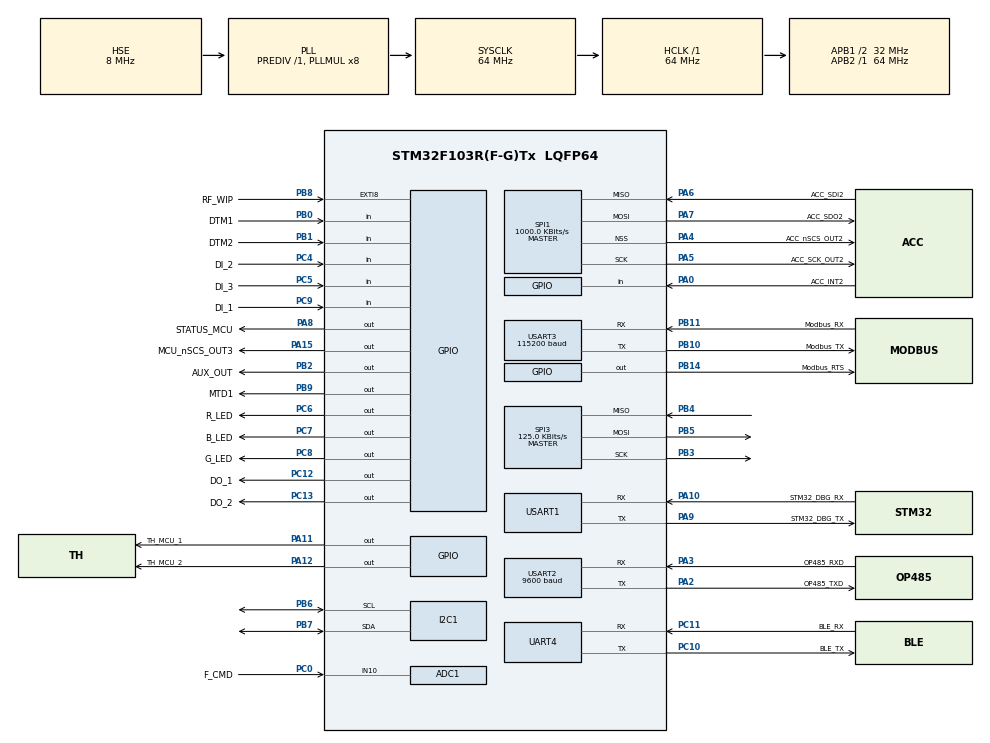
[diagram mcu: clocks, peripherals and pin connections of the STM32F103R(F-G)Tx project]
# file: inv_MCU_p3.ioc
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ADC1.Channel-0\#ChannelRegularConversion=ADC_CHANNEL_10
ADC1.ContinuousConvMode=ENABLE
ADC1.InjNumberOfConversion=0
ADC1.NbrOfConversion=1
ADC1.NbrOfConversionFlag=1
ADC1.Rank-0\#ChannelRegularConversion=1
ADC1.SamplingTime-0\#ChannelRegularConversion=ADC_SAMPLETIME_1CYCLE_5
ADC1.master=1
Dma.ADC1.1.Direction=DMA_PERIPH_TO_MEMORY
Dma.ADC1.1.Instance=DMA1_Channel1
Dma.ADC1.1.MemDataAlignment=DMA_MDATAALIGN_HALFWORD
Dma.ADC1.1.MemInc=DMA_MINC_ENABLE
Dma.ADC1.1.Mode=DMA_NORMAL
Dma.ADC1.1.PeriphDataAlignment=DMA_PDATAALIGN_HALFWORD
Dma.ADC1.1.PeriphInc=DMA_PINC_DISABLE
Dma.ADC1.1.Priority=DMA_PRIORITY_LOW
Dma.Request0=USART1_TX
Dma.Request1=ADC1
Dma.USART1_TX.0.Direction=DMA_MEMORY_TO_PERIPH
Dma.USART1_TX.0.Instance=DMA1_Channel4
Dma.USART1_TX.0.MemDataAlignment=DMA_MDATAALIGN_BYTE
Dma.USART1_TX.0.MemInc=DMA_MINC_ENABLE
Dma.USART1_TX.0.Mode=DMA_NORMAL
Dma.USART1_TX.0.PeriphDataAlignment=DMA_PDATAALIGN_BYTE
Dma.USART1_TX.0.PeriphInc=DMA_PINC_DISABLE
Dma.USART1_TX.0.Priority=DMA_PRIORITY_LOW
FREERTOS.BinarySemaphores01=debugSemaphoreId,Dynamic,NULL;mbus485SemaphoreId,Dynamic,NULL;rs485SemaphoreId,Dynamic,NULL;I2CSemaphoreId,Dynamic,NULL
FREERTOS.INCLUDE_vTaskDelete=0
FREERTOS.Queues01=NFC_eventQ,128,uint8_t,0,Dynamic,NULL,NULL
FREERTOS.Tasks01=defaultTask,-1,128,StartDefaultTask,Default,NULL,Dynamic,NULL,NULL;NfcNvmTask,0,256,NfcNvmTaskFunc,Default,NULL,Dynamic,NULL,NULL;userIoTask,-1,128,userIoTaskFunc,Default,NULL,Dynamic,NULL,NULL;mainHandlerTask,0,512,mainHandlerTaskFunc,Default,NULL,Dynamic,NULL,NULL;mbus485Task,0,256,mbus485TaskFunc,Default,NULL,Dynamic,NULL,NULL;opt485Task,-1,256,opt485TaskFunc,Default,NULL,Dynamic,NULL,NULL
FREERTOS.Timers01=YstcTriggerTimer,YstcTriggerTimerCallback,osTimerPeriodic,Default,NULL,Dynamic,NULL;YstcUpdateTimer,YstcUpdateTimerCallback,osTimerPeriodic,Default,NULL,Dynamic,NULL;userIoTimer,userIoTimerCallback,osTimerPeriodic,Default,NULL,Dynamic,NULL;NfcAppTimer,NfcAppTimerCallback,osTimerOnce,Default,NULL,Dynamic,NULL;AccReadTimer,AccReadTimerCallback,osTimerPeriodic,Default,NULL,Dynamic,NULL;OperationTimer,OperationTimerCallback,osTimerPeriodic,Default,NULL,Dynamic,NULL
FREERTOS.configTOTAL_HEAP_SIZE=20480
FREERTOS.configUSE_TIMERS=1
I2C1.I2C_Mode=I2C_Fast
IWDG.Prescaler=IWDG_PRESCALER_64
IWDG.Reload=1250
Mcu.Family=STM32F1
Mcu.Name=STM32F103R(F-G)Tx
Mcu.Package=LQFP64
NVIC.DMA1_Channel1_IRQn=true\:5\:0\:false\:false\:true\:true\:false\:true
NVIC.DMA1_Channel4_IRQn=true\:5\:0\:false\:false\:true\:true\:false\:true
NVIC.EXTI9_5_IRQn=true\:5\:0\:false\:false\:true\:true\:true\:true
NVIC.PriorityGroup=NVIC_PRIORITYGROUP_4
NVIC.RTC_IRQn=true\:5\:0\:false\:false\:true\:true\:true\:true
NVIC.TIM1_UP_TIM10_IRQn=true\:5\:0\:false\:false\:true\:true\:true\:true
NVIC.TIM3_IRQn=true\:5\:0\:false\:false\:true\:true\:true\:true
NVIC.TIM6_IRQn=true\:0\:0\:false\:false\:true\:false\:true\:true
NVIC.TIM7_IRQn=true\:5\:0\:false\:false\:true\:true\:true\:true
NVIC.TimeBase=TIM6_IRQn
NVIC.TimeBaseIP=TIM6
NVIC.USART1_IRQn=true\:5\:0\:false\:false\:true\:true\:true\:true
NVIC.USART2_IRQn=true\:5\:0\:false\:false\:true\:true\:true\:true
NVIC.USART3_IRQn=true\:5\:0\:false\:false\:true\:true\:true\:true
PA0-WKUP.GPIO_Label=ACC_INT2
PA0-WKUP.Signal=GPIO_Input
PA1.GPIO_Label=OP485_RTS
PA1.Signal=USART2_RTS
PA10.GPIO_Label=STM32_DBG_RX
PA10.Mode=Asynchronous
PA10.Signal=USART1_RX
PA11.GPIO_Label=TH_MCU_1
PA11.Signal=GPIO_Output
PA12.GPIO_Label=TH_MCU_2
PA12.Signal=GPIO_Output
PA13.Mode=Serial_Wire
PA13.Signal=SYS_JTMS-SWDIO
PA14.Mode=Serial_Wire
PA14.Signal=SYS_JTCK-SWCLK
PA15.GPIO_Label=MCU_nSCS_OUT3
PA15.Signal=GPIO_Output
PA2.GPIO_Label=OP485_TXD
PA2.Mode=Asynchronous
PA2.Signal=USART2_TX
PA3.GPIO_Label=OP485_RXD
PA3.Mode=Asynchronous
PA3.Signal=USART2_RX
PA4.GPIO_Label=ACC_nSCS_OUT2
PA4.Mode=NSS_Signal_Hard_Output
PA4.Signal=SPI1_NSS
PA5.GPIO_Label=ACC_SCK_OUT2
PA5.Mode=Full_Duplex_Master
PA5.Signal=SPI1_SCK
PA6.GPIO_Label=ACC_SDI2
PA6.Mode=Full_Duplex_Master
PA6.Signal=SPI1_MISO
PA7.GPIO_Label=ACC_SDO2
PA7.Mode=Full_Duplex_Master
PA7.Signal=SPI1_MOSI
PA8.GPIO_Label=STATUS_MCU
PA8.Signal=GPIO_Output
PA9.GPIO_Label=STM32_DBG_TX
PA9.Mode=Asynchronous
PA9.Signal=USART1_TX
PB0.GPIO_Label=DTM1
PB0.Signal=GPIO_Input
PB1.GPIO_Label=DTM2
PB1.Signal=GPIO_Input
PB10.GPIO_Label=Modbus_TX
PB10.Mode=Asynchronous
PB10.Signal=USART3_TX
PB11.GPIO_Label=Modbus_RX
PB11.Mode=Asynchronous
PB11.Signal=USART3_RX
PB14.GPIO_Label=Modbus_RTS
PB14.GPIO_Speed=GPIO_SPEED_FREQ_MEDIUM
PB14.Signal=GPIO_Output
PB2.GPIO_Label=AUX_OUT
PB2.GPIO_PuPd=GPIO_PULLDOWN
PB2.Signal=GPIO_Output
PB3.Mode=Full_Duplex_Master
PB3.Signal=SPI3_SCK
PB4.Mode=Full_Duplex_Master
PB4.Signal=SPI3_MISO
PB5.Mode=Full_Duplex_Master
PB5.Signal=SPI3_MOSI
PB6.Mode=I2C
PB6.Signal=I2C1_SCL
PB7.Mode=I2C
PB7.Signal=I2C1_SDA
PB8.GPIO_Label=RF_WIP
PB8.Signal=GPXTI8
PB9.GPIO_Label=MTD1
PB9.Signal=GPIO_Output
PC0.GPIO_Label=F_CMD
PC0.Signal=ADCx_IN10
PC10.GPIO_Label=BLE_TX
PC10.Mode=Asynchronous
PC10.Signal=UART4_TX
PC11.GPIO_Label=BLE_RX
PC11.Mode=Asynchronous
PC11.Signal=UART4_RX
PC12.GPIO_Label=DO_1
PC12.PinState=GPIO_PIN_SET
PC12.Signal=GPIO_Output
PC13-TAMPER-RTC.GPIO_Label=DO_2
PC13-TAMPER-RTC.PinState=GPIO_PIN_SET
PC13-TAMPER-RTC.Signal=GPIO_Output
PC14-OSC32_IN.Mode=LSE-External-Oscillator
PC14-OSC32_IN.Signal=RCC_OSC32_IN
PC15-OSC32_OUT.Mode=LSE-External-Oscillator
PC15-OSC32_OUT.Signal=RCC_OSC32_OUT
PC4.GPIO_Label=DI_2
PC4.Signal=GPIO_Input
PC5.GPIO_Label=DI_3
PC5.Signal=GPIO_Input
PC6.GPIO_Label=R_LED
PC6.Signal=GPIO_Output
PC7.GPIO_Label=B_LED
PC7.Signal=GPIO_Output
PC8.GPIO_Label=G_LED
PC8.Signal=GPIO_Output
PC9.GPIO_Label=DI_1
PC9.Signal=GPIO_Input
PD0-OSC_IN.Mode=HSE-External-Oscillator
PD0-OSC_IN.Signal=RCC_OSC_IN
PD1-OSC_OUT.Mode=HSE-External-Oscillator
PD1-OSC_OUT.Signal=RCC_OSC_OUT
ProjectManager.HeapSize=0x200
ProjectManager.StackSize=0x400
ProjectManager.TargetToolchain=TrueSTUDIO
RCC.ADCPresc=RCC_ADCPCLK2_DIV6
RCC.AHBFreq_Value=64000000
RCC.APB1CLKDivider=RCC_HCLK_DIV2
RCC.APB1Freq_Value=32000000
RCC.APB1TimFreq_Value=64000000
RCC.APB2Freq_Value=64000000
RCC.APB2TimFreq_Value=64000000
RCC.HCLKFreq_Value=64000000
RCC.PLLMUL=RCC_PLL_MUL8
RCC.PLLSourceVirtual=RCC_PLLSOURCE_HSE
RCC.RTCClockSelection=RCC_RTCCLKSOURCE_LSE
RCC.SYSCLKFreq_VALUE=64000000
RCC.SYSCLKSource=RCC_SYSCLKSOURCE_PLLCLK
RCC.USBFreq_Value=64000000
RTC.Date=7
RTC.Format=RTC_FORMAT_BIN
RTC.Hours=2
RTC.Minutes=37
RTC.Month=RTC_MONTH_MAY
RTC.Seconds=10
RTC.WeekDay=RTC_WEEKDAY_TUESDAY
RTC.Year=19
SH.ADCx_IN10.0=ADC1_IN10,IN10
SPI1.BaudRatePrescaler=SPI_BAUDRATEPRESCALER_64
SPI1.CLKPhase=SPI_PHASE_1EDGE
SPI1.CLKPolarity=SPI_POLARITY_LOW
SPI1.CRCCalculation=SPI_CRCCALCULATION_DISABLE
SPI1.CalculateBaudRate=1000.0 KBits/s
SPI1.DataSize=SPI_DATASIZE_8BIT
SPI1.Direction=SPI_DIRECTION_2LINES
SPI1.Mode=SPI_MODE_MASTER
SPI1.VirtualNSS=VM_NSSHARD
SPI1.VirtualType=VM_MASTER
SPI3.BaudRatePrescaler=SPI_BAUDRATEPRESCALER_256
SPI3.CLKPhase=SPI_PHASE_2EDGE
SPI3.CLKPolarity=SPI_POLARITY_HIGH
SPI3.CalculateBaudRate=125.0 KBits/s
SPI3.DataSize=SPI_DATASIZE_16BIT
SPI3.Direction=SPI_DIRECTION_2LINES
SPI3.Mode=SPI_MODE_MASTER
SPI3.VirtualType=VM_MASTER
TIM10.Period=49
TIM10.Prescaler=64
TIM3.Period=999
TIM3.Prescaler=32
TIM7.Period=49
TIM7.Prescaler=64
TIM7.TIM_MasterOutputTrigger=TIM_TRGO_UPDATE
UART4.VirtualMode=Asynchronous
USART1.VirtualMode=VM_ASYNC
USART2.BaudRate=9600
USART2.VirtualMode=VM_ASYNC
USART3.BaudRate=115200
USART3.VirtualMode=VM_ASYNC
VP_FREERTOS_VS_CMSIS_V1.Mode=CMSIS_V1
VP_IWDG_VS_IWDG.Mode=IWDG_Activate
VP_RTC_No_RTC_Output.Mode=RTC_OUT_NO
VP_RTC_VS_RTC_Activate.Mode=RTC_Enabled
VP_RTC_VS_RTC_Calendar.Mode=RTC_Calendar
VP_SYS_VS_tim6.Mode=TIM6
VP_TIM10_VS_ClockSourceINT.Mode=Enable_Timer
VP_TIM11_VS_ClockSourceINT.Mode=Enable_Timer
VP_TIM3_VS_ClockSourceINT.Mode=Internal
VP_TIM7_VS_ClockSourceINT.Mode=Enable_Timer
board=Inverter_MCU_uart

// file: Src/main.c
/* USER CODE BEGIN Header */
/**
  ******************************************************************************
  * @file           : main.c
  * @brief          : Main program body
  ******************************************************************************
  * @attention
  *
  * <h2><center>&copy; Copyright (c) 2019 STMicroelectronics.
  * All rights reserved.</center></h2>
  *
  * This software component is licensed by ST under Ultimate Liberty license
  * SLA0044, the "License"; You may not use this file except in compliance with
  * the License. You may obtain a copy of the License at:
  *                             www.st.com/SLA0044
  *
  ******************************************************************************
  */
/* USER CODE END Header */

#include "main.h"
#include "cmsis_os.h"

/* USER CODE BEGIN Includes */
#include "includes.h"
#include "proc_uart.h"
#include "build_defs.h"

#include "table.h"
#include "ext_io.h"
#include "error.h"
#include "dsp_comm.h"
#include "modbus_func.h"
#include "modbus_queue.h"
#include "nvm_queue.h"
#include "handler.h"

#include "drv_gpio.h"
#include "drv_nvm.h"

/* USER CODE END Includes */

/* USER CODE BEGIN PD */

typedef enum {
	MAIN_IDLE_STATE = 0,
	MAIN_DSP_STATE,
	MAIN_EXTIO_STATE,
	MAIN_MODBUS_STATE,
	MAIN_TABLE_STATE,
	MAIN_ERROR_STATE,
} MAIN_state_st;

/* USER CODE END PD */

ADC_HandleTypeDef hadc1;
DMA_HandleTypeDef hdma_adc1;

I2C_HandleTypeDef hi2c1;

IWDG_HandleTypeDef hiwdg;

RTC_HandleTypeDef hrtc;

SPI_HandleTypeDef hspi1;
SPI_HandleTypeDef hspi3;

TIM_HandleTypeDef htim3;
TIM_HandleTypeDef htim7;
TIM_HandleTypeDef htim10;
TIM_HandleTypeDef htim11;

UART_HandleTypeDef huart4;
UART_HandleTypeDef huart1;
UART_HandleTypeDef huart2;
UART_HandleTypeDef huart3;
DMA_HandleTypeDef hdma_usart1_tx;

osThreadId defaultTaskHandle;
osThreadId NfcNvmTaskHandle;
osThreadId userIoTaskHandle;
osThreadId mainHandlerTaskHandle;
osThreadId mbus485TaskHandle;
osThreadId opt485TaskHandle;
osMessageQId NFC_eventQHandle;
osTimerId YstcTriggerTimerHandle;
osTimerId YstcUpdateTimerHandle;
osTimerId userIoTimerHandle;
osTimerId NfcAppTimerHandle;
osTimerId AccReadTimerHandle;
osTimerId OperationTimerHandle;
osSemaphoreId debugSemaphoreIdHandle;
osSemaphoreId mbus485SemaphoreIdHandle;
osSemaphoreId rs485SemaphoreIdHandle;
osSemaphoreId I2CSemaphoreIdHandle;
/* USER CODE BEGIN PV */
osThreadId debugTaskHandle;

/* USER CODE END PV */

void SystemClock_Config(void);
static void MX_GPIO_Init(void);
static void MX_DMA_Init(void);
static void MX_I2C1_Init(void);
static void MX_SPI1_Init(void);
static void MX_SPI3_Init(void);
static void MX_USART1_UART_Init(void);
static void MX_USART3_UART_Init(void);
static void MX_RTC_Init(void);
static void MX_TIM3_Init(void);
static void MX_TIM7_Init(void);
static void MX_TIM10_Init(void);
static void MX_IWDG_Init(void);
static void MX_ADC1_Init(void);
static void MX_UART4_Init(void);
static void MX_USART2_UART_Init(void);
static void MX_TIM11_Init(void);
void StartDefaultTask(void const * argument);
void NfcNvmTaskFunc(void const * argument);
void userIoTaskFunc(void const * argument);
void mainHandlerTaskFunc(void const * argument);
void mbus485TaskFunc(void const * argument);
void opt485TaskFunc(void const * argument);
void YstcTriggerTimerCallback(void const * argument);
void YstcUpdateTimerCallback(void const * argument);
void userIoTimerCallback(void const * argument);
void NfcAppTimerCallback(void const * argument);
void AccReadTimerCallback(void const * argument);
void OperationTimerCallback(void const * argument);

/* USER CODE BEGIN PFP */

// timer setup
#define UIO_UPDATE_TIME_INTERVAL	10 // 10ms
#define ACC_READ_TIME_INTERVAL		1000 // 1sec
#define DSP_STATUS_TIME_INTERVAL	1000 // 1sec
#define OPERATION_TIME_INTERVAL		60000 // 1 min

#define WATCHDOG_NFC		0x01
#define WATCHDOG_MAIN		0x02
#define WATCHDOG_USERIO		0x04
#define WATCHDOG_MODBUS		0x08
#define WATCHDOG_RS485		0x10
#define WATCHDOG_ALL		0x1F

uint32_t default_cnt=0, main_cnt=0, nfc_cnt=0, mbus_cnt=0, rs485_cnt=0, user_io_cnt=0;

uint8_t main_handler_f=0;

uint8_t NFC_Access_flag=0;
uint32_t NFC_Access_cnt=0;
uint8_t DSP_status_read_flag=0;
uint8_t reset_cmd_send_f = 0;

volatile int8_t ADC_ConvCpltFlag=0, ADC_error=0;

uint16_t exec_do_cnt=0;

uint16_t user_io_handle_cnt=0;
uint8_t user_io_handle_f = 0;

// device working hour
uint32_t motor_run_hour=0;
uint32_t device_on_hour=0;
uint32_t run_minutes=0;

uint32_t timer_100ms=0;
uint32_t device_min_cnt=0;
uint32_t dev_start_time=0;

uint16_t led_blink_cnt=0;

int8_t reset_flag=0; // flag for MCU force reset

#ifdef SUPPORT_TASK_WATCHDOG
uint8_t watchdog_f = 0;
#endif

extern LED_status_t LED_state[]; // 3 color LED state

extern uint8_t reset_enabled_f;
//extern uint8_t reset_requested_f;

extern uint8_t param_init_requested_f;

extern uint16_t jig_test_enabled_f;

extern uint8_t UTIL_readDTMpin(void);

extern void gen_crc_table(void);

extern void MB_init(void);
extern void MB_TaskFunction(void);
extern int8_t MB_handlePacket(void);
#ifdef SUPPORT_PASSWORD
extern void table_clearPassEnable(void);
#endif

extern int8_t NVM_setMotorRunCount(uint32_t run_count);
//extern int8_t COMM_sendMotorType(void);

// opt485_task.c
extern void OPT_init(void);
extern void OPT_TaskFunction(void);

#ifdef SUPPORT_PRODUCTION_TEST_MODE
extern int JIG_isTestEnabled(void);
extern void JIG_test_state(void);
#endif

extern void debugTaskFunc(void const * argument);
//extern void rs485TaskFunction(void);
//extern void kputs2(const char *pStr);
//extern void kprintf2(const char *fmt, ...);

/* USER CODE END PFP */

/* USER CODE BEGIN 0 */

int _write(int file, char *data, int len)
{
	HAL_StatusTypeDef status = HAL_UART_Transmit(&huart1, (uint8_t *)data, len, 1000);

	return (status == HAL_OK ? len : 0);
}

void HAL_UART_TxCpltCallback(UART_HandleTypeDef *huart)
{
	if (huart->Instance == USART1)
	{
		osSemaphoreRelease(debugSemaphoreIdHandle);
	}
}

void HAL_UART_ErrorCallback(UART_HandleTypeDef *huart)
{
	if (huart->Instance == USART1)
	{
		uart_errCnt[0]++;
	}
}

void HAL_ADC_ConvCpltCallback(ADC_HandleTypeDef* hadc)
{
	ADC_ConvCpltFlag = 1;
}

void HAL_ADC_ErrorCallback(ADC_HandleTypeDef *hadc)
{
	ADC_error=1;
}

/* USER CODE END 0 */

int main(void)
{
  /* USER CODE BEGIN 1 */
  //int8_t status=0;
  /* USER CODE END 1 */

  /* MCU Configuration--------------------------------------------------------*/

  /* Reset of all peripherals, Initializes the Flash interface and the Systick. */
  HAL_Init();

  /* Configure the system clock */
  SystemClock_Config();

  /* Initialize all configured peripherals */
  MX_GPIO_Init();
  MX_DMA_Init();
  MX_I2C1_Init();
  MX_SPI1_Init();
  MX_SPI3_Init();
  MX_USART1_UART_Init();
  MX_USART3_UART_Init();
  MX_RTC_Init();
  MX_TIM3_Init();
  MX_TIM7_Init();
  MX_TIM10_Init();
  MX_IWDG_Init();
  MX_ADC1_Init();
  MX_UART4_Init();
  MX_USART2_UART_Init();
  MX_TIM11_Init();
  /* USER CODE BEGIN 2 */

  initUarts(); // debug UART
  HAL_TIM_Base_Start_IT(&htim3); // Analog Out timer, no used for P3
  HAL_TIM_Base_Start_IT(&htim10);

  printf("\r\n======== MCU Started ==========");
  printf("\r\n** Compiled :    %4d/%02d/%02d   **\r\n\r\n ", BUILD_YEAR, BUILD_MONTH, BUILD_DAY);

  // LED on
  HAL_GPIO_WritePin(STATUS_MCU_GPIO_Port, STATUS_MCU_Pin, GPIO_PIN_SET);

  UTIL_setMTDpin(0); // set MTD pin no error

  // ADC self calibration
  while(!(HAL_ADCEx_Calibration_Start(&hadc1)==HAL_OK));

  //gen_crc_table();

  /* USER CODE END 2 */

  /* Create the semaphores(s) */
  /* definition and creation of debugSemaphoreId */
  osSemaphoreDef(debugSemaphoreId);
  debugSemaphoreIdHandle = osSemaphoreCreate(osSemaphore(debugSemaphoreId), 1);

  /* definition and creation of mbus485SemaphoreId */
  osSemaphoreDef(mbus485SemaphoreId);
  mbus485SemaphoreIdHandle = osSemaphoreCreate(osSemaphore(mbus485SemaphoreId), 1);

  /* definition and creation of rs485SemaphoreId */
  osSemaphoreDef(rs485SemaphoreId);
  rs485SemaphoreIdHandle = osSemaphoreCreate(osSemaphore(rs485SemaphoreId), 1);

  /* definition and creation of I2CSemaphoreId */
  osSemaphoreDef(I2CSemaphoreId);
  I2CSemaphoreIdHandle = osSemaphoreCreate(osSemaphore(I2CSemaphoreId), 1);

  /* Create the timer(s) */
  /* definition and creation of YstcTriggerTimer */
  osTimerDef(YstcTriggerTimer, YstcTriggerTimerCallback);
  YstcTriggerTimerHandle = osTimerCreate(osTimer(YstcTriggerTimer), osTimerPeriodic, NULL);

  /* definition and creation of YstcUpdateTimer */
  osTimerDef(YstcUpdateTimer, YstcUpdateTimerCallback);
  YstcUpdateTimerHandle = osTimerCreate(osTimer(YstcUpdateTimer), osTimerPeriodic, NULL);

  /* definition and creation of userIoTimer */
  osTimerDef(userIoTimer, userIoTimerCallback);
  userIoTimerHandle = osTimerCreate(osTimer(userIoTimer), osTimerPeriodic, NULL);

  /* definition and creation of NfcAppTimer */
  osTimerDef(NfcAppTimer, NfcAppTimerCallback);
  NfcAppTimerHandle = osTimerCreate(osTimer(NfcAppTimer), osTimerOnce, NULL);

  /* definition and creation of AccReadTimer */
  osTimerDef(AccReadTimer, AccReadTimerCallback);
  AccReadTimerHandle = osTimerCreate(osTimer(AccReadTimer), osTimerPeriodic, NULL);

  /* definition and creation of OperationTimer */
  osTimerDef(OperationTimer, OperationTimerCallback);
  OperationTimerHandle = osTimerCreate(osTimer(OperationTimer), osTimerPeriodic, NULL);

  /* USER CODE BEGIN RTOS_TIMERS */
  /* start timers, add new ones, ... */
  osTimerStart(userIoTimerHandle, UIO_UPDATE_TIME_INTERVAL); // 10ms -> 50ms UserIo update
  osTimerStart(AccReadTimerHandle, ACC_READ_TIME_INTERVAL); // 1 sec to read Accelerometer
  osTimerStart(YstcTriggerTimerHandle, 100); //100ms

  /* USER CODE END RTOS_TIMERS */

  /* Create the queue(s) */
  /* definition and creation of NFC_eventQ */
  osMessageQDef(NFC_eventQ, 128, uint8_t);
  NFC_eventQHandle = osMessageCreate(osMessageQ(NFC_eventQ), NULL);

  /* Create the thread(s) */
  /* definition and creation of defaultTask */
  osThreadDef(defaultTask, StartDefaultTask, osPriorityBelowNormal, 0, 128);
  defaultTaskHandle = osThreadCreate(osThread(defaultTask), NULL);

  /* definition and creation of NfcNvmTask */
  osThreadDef(NfcNvmTask, NfcNvmTaskFunc, osPriorityNormal, 0, 256);
  NfcNvmTaskHandle = osThreadCreate(osThread(NfcNvmTask), NULL);

  /* definition and creation of userIoTask */
  osThreadDef(userIoTask, userIoTaskFunc, osPriorityBelowNormal, 0, 128);
  userIoTaskHandle = osThreadCreate(osThread(userIoTask), NULL);

  /* definition and creation of mainHandlerTask */
  osThreadDef(mainHandlerTask, mainHandlerTaskFunc, osPriorityNormal, 0, 512);
  mainHandlerTaskHandle = osThreadCreate(osThread(mainHandlerTask), NULL);

  /* definition and creation of mbus485Task */
  osThreadDef(mbus485Task, mbus485TaskFunc, osPriorityNormal, 0, 256);
  mbus485TaskHandle = osThreadCreate(osThread(mbus485Task), NULL);

  /* definition and creation of opt485Task */
  osThreadDef(opt485Task, opt485TaskFunc, osPriorityBelowNormal, 0, 256);
  opt485TaskHandle = osThreadCreate(osThread(opt485Task), NULL);

  /* USER CODE BEGIN RTOS_THREADS */
  /* add threads, ... */
  osThreadDef(debugTask, debugTaskFunc, osPriorityLow, 0, 512);
  debugTaskHandle = osThreadCreate(osThread(debugTask), NULL);

  /* USER CODE END RTOS_THREADS */

  /* Start scheduler */
  osKernelStart();

  /* We should never get here as control is now taken by the scheduler */

  /* Infinite loop */
  /* USER CODE BEGIN WHILE */
  while (1)
  {
	 osDelay(100);
    /* USER CODE END WHILE */

  }
}

void SystemClock_Config(void)
{
  RCC_OscInitTypeDef RCC_OscInitStruct = {0};
  RCC_ClkInitTypeDef RCC_ClkInitStruct = {0};
  RCC_PeriphCLKInitTypeDef PeriphClkInit = {0};

  /** Initializes the CPU, AHB and APB busses clocks
  */
  RCC_OscInitStruct.OscillatorType = RCC_OSCILLATORTYPE_LSI|RCC_OSCILLATORTYPE_HSE
                              |RCC_OSCILLATORTYPE_LSE;
  RCC_OscInitStruct.HSEState = RCC_HSE_ON;
  RCC_OscInitStruct.HSEPredivValue = RCC_HSE_PREDIV_DIV1;
  RCC_OscInitStruct.LSEState = RCC_LSE_ON;
  RCC_OscInitStruct.HSIState = RCC_HSI_ON;
  RCC_OscInitStruct.LSIState = RCC_LSI_ON;
  RCC_OscInitStruct.PLL.PLLState = RCC_PLL_ON;
  RCC_OscInitStruct.PLL.PLLSource = RCC_PLLSOURCE_HSE;
  RCC_OscInitStruct.PLL.PLLMUL = RCC_PLL_MUL8;
  if (HAL_RCC_OscConfig(&RCC_OscInitStruct) != HAL_OK)
  {
    Error_Handler();
  }
  /** Initializes the CPU, AHB and APB busses clocks
  */
  RCC_ClkInitStruct.ClockType = RCC_CLOCKTYPE_HCLK|RCC_CLOCKTYPE_SYSCLK
                              |RCC_CLOCKTYPE_PCLK1|RCC_CLOCKTYPE_PCLK2;
  RCC_ClkInitStruct.SYSCLKSource = RCC_SYSCLKSOURCE_PLLCLK;
  RCC_ClkInitStruct.AHBCLKDivider = RCC_SYSCLK_DIV1;
  RCC_ClkInitStruct.APB1CLKDivider = RCC_HCLK_DIV2;
  RCC_ClkInitStruct.APB2CLKDivider = RCC_HCLK_DIV1;

  if (HAL_RCC_ClockConfig(&RCC_ClkInitStruct, FLASH_LATENCY_2) != HAL_OK)
  {
    Error_Handler();
  }
  PeriphClkInit.PeriphClockSelection = RCC_PERIPHCLK_RTC|RCC_PERIPHCLK_ADC;
  PeriphClkInit.RTCClockSelection = RCC_RTCCLKSOURCE_LSE;
  PeriphClkInit.AdcClockSelection = RCC_ADCPCLK2_DIV6;
  if (HAL_RCCEx_PeriphCLKConfig(&PeriphClkInit) != HAL_OK)
  {
    Error_Handler();
  }
}

static void MX_ADC1_Init(void)
{

  ADC_ChannelConfTypeDef sConfig = {0};

  /** Common config
  */
  hadc1.Instance = ADC1;
  hadc1.Init.ScanConvMode = ADC_SCAN_DISABLE;
  hadc1.Init.ContinuousConvMode = ENABLE;
  hadc1.Init.DiscontinuousConvMode = DISABLE;
  hadc1.Init.ExternalTrigConv = ADC_SOFTWARE_START;
  hadc1.Init.DataAlign = ADC_DATAALIGN_RIGHT;
  hadc1.Init.NbrOfConversion = 1;
  if (HAL_ADC_Init(&hadc1) != HAL_OK)
  {
    Error_Handler();
  }
  /** Configure Regular Channel
  */
  sConfig.Channel = ADC_CHANNEL_10;
  sConfig.Rank = ADC_REGULAR_RANK_1;
  sConfig.SamplingTime = ADC_SAMPLETIME_1CYCLE_5;
  if (HAL_ADC_ConfigChannel(&hadc1, &sConfig) != HAL_OK)
  {
    Error_Handler();
  }

}

static void MX_I2C1_Init(void)
{

  hi2c1.Instance = I2C1;
  hi2c1.Init.ClockSpeed = 400000;
  hi2c1.Init.DutyCycle = I2C_DUTYCYCLE_2;
  hi2c1.Init.OwnAddress1 = 0;
  hi2c1.Init.AddressingMode = I2C_ADDRESSINGMODE_7BIT;
  hi2c1.Init.DualAddressMode = I2C_DUALADDRESS_DISABLE;
  hi2c1.Init.OwnAddress2 = 0;
  hi2c1.Init.GeneralCallMode = I2C_GENERALCALL_DISABLE;
  hi2c1.Init.NoStretchMode = I2C_NOSTRETCH_DISABLE;
  if (HAL_I2C_Init(&hi2c1) != HAL_OK)
  {
    Error_Handler();
  }

}

static void MX_IWDG_Init(void)
{

  /* USER CODE BEGIN IWDG_Init 0 */
#ifndef SUPPORT_TASK_WATCHDOG
	return ; // not use watchdog in unit test
#endif

  /* USER CODE END IWDG_Init 0 */

  hiwdg.Instance = IWDG;
  hiwdg.Init.Prescaler = IWDG_PRESCALER_64;
  hiwdg.Init.Reload = 1250;
  if (HAL_IWDG_Init(&hiwdg) != HAL_OK)
  {
    Error_Handler();
  }

}

static void MX_RTC_Init(void)
{

  RTC_TimeTypeDef sTime = {0};
  RTC_DateTypeDef DateToUpdate = {0};

  /** Initialize RTC Only
  */
  hrtc.Instance = RTC;
  hrtc.Init.AsynchPrediv = RTC_AUTO_1_SECOND;
  hrtc.Init.OutPut = RTC_OUTPUTSOURCE_NONE;
  if (HAL_RTC_Init(&hrtc) != HAL_OK)
  {
    Error_Handler();
  }

  /** Initialize RTC and set the Time and Date
  */
  sTime.Hours = 2;
  sTime.Minutes = 37;
  sTime.Seconds = 10;

  if (HAL_RTC_SetTime(&hrtc, &sTime, RTC_FORMAT_BIN) != HAL_OK)
  {
    Error_Handler();
  }
  DateToUpdate.WeekDay = RTC_WEEKDAY_TUESDAY;
  DateToUpdate.Month = RTC_MONTH_MAY;
  DateToUpdate.Date = 7;
  DateToUpdate.Year = 19;

  if (HAL_RTC_SetDate(&hrtc, &DateToUpdate, RTC_FORMAT_BIN) != HAL_OK)
  {
    Error_Handler();
  }

}

static void MX_SPI1_Init(void)
{

  /* SPI1 parameter configuration*/
  hspi1.Instance = SPI1;
  hspi1.Init.Mode = SPI_MODE_MASTER;
  hspi1.Init.Direction = SPI_DIRECTION_2LINES;
  hspi1.Init.DataSize = SPI_DATASIZE_8BIT;
  hspi1.Init.CLKPolarity = SPI_POLARITY_LOW;
  hspi1.Init.CLKPhase = SPI_PHASE_1EDGE;
  hspi1.Init.NSS = SPI_NSS_HARD_OUTPUT;
  hspi1.Init.BaudRatePrescaler = SPI_BAUDRATEPRESCALER_64;
  hspi1.Init.FirstBit = SPI_FIRSTBIT_MSB;
  hspi1.Init.TIMode = SPI_TIMODE_DISABLE;
  hspi1.Init.CRCCalculation = SPI_CRCCALCULATION_DISABLE;
  hspi1.Init.CRCPolynomial = 10;
  if (HAL_SPI_Init(&hspi1) != HAL_OK)
  {
    Error_Handler();
  }

}

static void MX_SPI3_Init(void)
{

  /* SPI3 parameter configuration*/
  hspi3.Instance = SPI3;
  hspi3.Init.Mode = SPI_MODE_MASTER;
  hspi3.Init.Direction = SPI_DIRECTION_2LINES;
  hspi3.Init.DataSize = SPI_DATASIZE_16BIT;
  hspi3.Init.CLKPolarity = SPI_POLARITY_HIGH;
  hspi3.Init.CLKPhase = SPI_PHASE_2EDGE;
  hspi3.Init.NSS = SPI_NSS_SOFT;
  hspi3.Init.BaudRatePrescaler = SPI_BAUDRATEPRESCALER_256;
  hspi3.Init.FirstBit = SPI_FIRSTBIT_MSB;
  hspi3.Init.TIMode = SPI_TIMODE_DISABLE;
  hspi3.Init.CRCCalculation = SPI_CRCCALCULATION_DISABLE;
  hspi3.Init.CRCPolynomial = 10;
  if (HAL_SPI_Init(&hspi3) != HAL_OK)
  {
    Error_Handler();
  }

}

static void MX_TIM3_Init(void)
{

  TIM_ClockConfigTypeDef sClockSourceConfig = {0};
  TIM_MasterConfigTypeDef sMasterConfig = {0};

  htim3.Instance = TIM3;
  htim3.Init.Prescaler = 32;
  htim3.Init.CounterMode = TIM_COUNTERMODE_UP;
  htim3.Init.Period = 999;
  htim3.Init.ClockDivision = TIM_CLOCKDIVISION_DIV1;
  htim3.Init.AutoReloadPreload = TIM_AUTORELOAD_PRELOAD_DISABLE;
  if (HAL_TIM_Base_Init(&htim3) != HAL_OK)
  {
    Error_Handler();
  }
  sClockSourceConfig.ClockSource = TIM_CLOCKSOURCE_INTERNAL;
  if (HAL_TIM_ConfigClockSource(&htim3, &sClockSourceConfig) != HAL_OK)
  {
    Error_Handler();
  }
  sMasterConfig.MasterOutputTrigger = TIM_TRGO_RESET;
  sMasterConfig.MasterSlaveMode = TIM_MASTERSLAVEMODE_DISABLE;
  if (HAL_TIMEx_MasterConfigSynchronization(&htim3, &sMasterConfig) != HAL_OK)
  {
    Error_Handler();
  }

}

static void MX_TIM7_Init(void)
{

  /* USER CODE BEGIN TIM7_Init 0 */
  // 50us timer for modbus
  /* USER CODE END TIM7_Init 0 */

  TIM_MasterConfigTypeDef sMasterConfig = {0};

  htim7.Instance = TIM7;
  htim7.Init.Prescaler = 64;
  htim7.Init.CounterMode = TIM_COUNTERMODE_UP;
  htim7.Init.Period = 49;
  htim7.Init.AutoReloadPreload = TIM_AUTORELOAD_PRELOAD_DISABLE;
  if (HAL_TIM_Base_Init(&htim7) != HAL_OK)
  {
    Error_Handler();
  }
  sMasterConfig.MasterOutputTrigger = TIM_TRGO_UPDATE;
  sMasterConfig.MasterSlaveMode = TIM_MASTERSLAVEMODE_DISABLE;
  if (HAL_TIMEx_MasterConfigSynchronization(&htim7, &sMasterConfig) != HAL_OK)
  {
    Error_Handler();
  }

}

static void MX_TIM10_Init(void)
{

  htim10.Instance = TIM10;
  htim10.Init.Prescaler = 64;
  htim10.Init.CounterMode = TIM_COUNTERMODE_UP;
  htim10.Init.Period = 49;
  htim10.Init.ClockDivision = TIM_CLOCKDIVISION_DIV1;
  htim10.Init.AutoReloadPreload = TIM_AUTORELOAD_PRELOAD_DISABLE;
  if (HAL_TIM_Base_Init(&htim10) != HAL_OK)
  {
    Error_Handler();
  }

}

static void MX_TIM11_Init(void)
{

  htim11.Instance = TIM11;
  htim11.Init.Prescaler = 0;
  htim11.Init.CounterMode = TIM_COUNTERMODE_UP;
  htim11.Init.Period = 0;
  htim11.Init.ClockDivision = TIM_CLOCKDIVISION_DIV1;
  htim11.Init.AutoReloadPreload = TIM_AUTORELOAD_PRELOAD_DISABLE;
  if (HAL_TIM_Base_Init(&htim11) != HAL_OK)
  {
    Error_Handler();
  }

}

static void MX_UART4_Init(void)
{

  huart4.Instance = UART4;
  huart4.Init.BaudRate = 115200;
  huart4.Init.WordLength = UART_WORDLENGTH_8B;
  huart4.Init.StopBits = UART_STOPBITS_1;
  huart4.Init.Parity = UART_PARITY_NONE;
  huart4.Init.Mode = UART_MODE_TX_RX;
  huart4.Init.HwFlowCtl = UART_HWCONTROL_NONE;
  huart4.Init.OverSampling = UART_OVERSAMPLING_16;
  if (HAL_UART_Init(&huart4) != HAL_OK)
  {
    Error_Handler();
  }

}

static void MX_USART1_UART_Init(void)
{

  huart1.Instance = USART1;
  huart1.Init.BaudRate = 115200;
  huart1.Init.WordLength = UART_WORDLENGTH_8B;
  huart1.Init.StopBits = UART_STOPBITS_1;
  huart1.Init.Parity = UART_PARITY_NONE;
  huart1.Init.Mode = UART_MODE_TX_RX;
  huart1.Init.HwFlowCtl = UART_HWCONTROL_NONE;
  huart1.Init.OverSampling = UART_OVERSAMPLING_16;
  if (HAL_UART_Init(&huart1) != HAL_OK)
  {
    Error_Handler();
  }

}

static void MX_USART2_UART_Init(void)
{

  huart2.Instance = USART2;
  huart2.Init.BaudRate = 9600;
  huart2.Init.WordLength = UART_WORDLENGTH_8B;
  huart2.Init.StopBits = UART_STOPBITS_1;
  huart2.Init.Parity = UART_PARITY_NONE;
  huart2.Init.Mode = UART_MODE_TX_RX;
  huart2.Init.HwFlowCtl = UART_HWCONTROL_NONE;
  huart2.Init.OverSampling = UART_OVERSAMPLING_16;
  if (HAL_UART_Init(&huart2) != HAL_OK)
  {
    Error_Handler();
  }

}

static void MX_USART3_UART_Init(void)
{

  huart3.Instance = USART3;
  huart3.Init.BaudRate = 115200;
  huart3.Init.WordLength = UART_WORDLENGTH_8B;
  huart3.Init.StopBits = UART_STOPBITS_1;
  huart3.Init.Parity = UART_PARITY_NONE;
  huart3.Init.Mode = UART_MODE_TX_RX;
  huart3.Init.HwFlowCtl = UART_HWCONTROL_NONE;
  huart3.Init.OverSampling = UART_OVERSAMPLING_16;
  if (HAL_UART_Init(&huart3) != HAL_OK)
  {
    Error_Handler();
  }

}

static void MX_DMA_Init(void)
{
  /* DMA controller clock enable */
  __HAL_RCC_DMA1_CLK_ENABLE();

  /* DMA interrupt init */
  /* DMA1_Channel1_IRQn interrupt configuration */
  HAL_NVIC_SetPriority(DMA1_Channel1_IRQn, 5, 0);
  HAL_NVIC_EnableIRQ(DMA1_Channel1_IRQn);
  /* DMA1_Channel4_IRQn interrupt configuration */
  HAL_NVIC_SetPriority(DMA1_Channel4_IRQn, 5, 0);
  HAL_NVIC_EnableIRQ(DMA1_Channel4_IRQn);

}

static void MX_GPIO_Init(void)
{
  GPIO_InitTypeDef GPIO_InitStruct = {0};

  /* GPIO Ports Clock Enable */
  __HAL_RCC_GPIOC_CLK_ENABLE();
  __HAL_RCC_GPIOD_CLK_ENABLE();
  __HAL_RCC_GPIOA_CLK_ENABLE();
  __HAL_RCC_GPIOB_CLK_ENABLE();

  /*Configure GPIO pin Output Level */
  HAL_GPIO_WritePin(GPIOC, DO_2_Pin|DO_1_Pin, GPIO_PIN_SET);

  /*Configure GPIO pin Output Level */
  HAL_GPIO_WritePin(GPIOB, AUX_OUT_Pin|Modbus_RTS_Pin|MTD1_Pin, GPIO_PIN_RESET);

  /*Configure GPIO pin Output Level */
  HAL_GPIO_WritePin(GPIOC, R_LED_Pin|B_LED_Pin|G_LED_Pin, GPIO_PIN_RESET);

  /*Configure GPIO pin Output Level */
  HAL_GPIO_WritePin(GPIOA, STATUS_MCU_Pin|TH_MCU_1_Pin|TH_MCU_2_Pin|MCU_nSCS_OUT3_Pin, GPIO_PIN_RESET);

  /*Configure GPIO pins : DO_2_Pin R_LED_Pin B_LED_Pin G_LED_Pin
                           DO_1_Pin */
  GPIO_InitStruct.Pin = DO_2_Pin|R_LED_Pin|B_LED_Pin|G_LED_Pin
                          |DO_1_Pin;
  GPIO_InitStruct.Mode = GPIO_MODE_OUTPUT_PP;
  GPIO_InitStruct.Pull = GPIO_NOPULL;
  GPIO_InitStruct.Speed = GPIO_SPEED_FREQ_LOW;
  HAL_GPIO_Init(GPIOC, &GPIO_InitStruct);

  /*Configure GPIO pin : ACC_INT2_Pin */
  GPIO_InitStruct.Pin = ACC_INT2_Pin;
  GPIO_InitStruct.Mode = GPIO_MODE_INPUT;
  GPIO_InitStruct.Pull = GPIO_NOPULL;
  HAL_GPIO_Init(ACC_INT2_GPIO_Port, &GPIO_InitStruct);

  /*Configure GPIO pins : DI_2_Pin DI_3_Pin DI_1_Pin */
  GPIO_InitStruct.Pin = DI_2_Pin|DI_3_Pin|DI_1_Pin;
  GPIO_InitStruct.Mode = GPIO_MODE_INPUT;
  GPIO_InitStruct.Pull = GPIO_NOPULL;
  HAL_GPIO_Init(GPIOC, &GPIO_InitStruct);

  /*Configure GPIO pins : DTM1_Pin DTM2_Pin */
  GPIO_InitStruct.Pin = DTM1_Pin|DTM2_Pin;
  GPIO_InitStruct.Mode = GPIO_MODE_INPUT;
  GPIO_InitStruct.Pull = GPIO_NOPULL;
  HAL_GPIO_Init(GPIOB, &GPIO_InitStruct);

  /*Configure GPIO pin : AUX_OUT_Pin */
  GPIO_InitStruct.Pin = AUX_OUT_Pin;
  GPIO_InitStruct.Mode = GPIO_MODE_OUTPUT_PP;
  GPIO_InitStruct.Pull = GPIO_PULLDOWN;
  GPIO_InitStruct.Speed = GPIO_SPEED_FREQ_LOW;
  HAL_GPIO_Init(AUX_OUT_GPIO_Port, &GPIO_InitStruct);

  /*Configure GPIO pin : Modbus_RTS_Pin */
  GPIO_InitStruct.Pin = Modbus_RTS_Pin;
  GPIO_InitStruct.Mode = GPIO_MODE_OUTPUT_PP;
  GPIO_InitStruct.Pull = GPIO_NOPULL;
  GPIO_InitStruct.Speed = GPIO_SPEED_FREQ_MEDIUM;
  HAL_GPIO_Init(Modbus_RTS_GPIO_Port, &GPIO_InitStruct);

  /*Configure GPIO pins : STATUS_MCU_Pin TH_MCU_1_Pin TH_MCU_2_Pin MCU_nSCS_OUT3_Pin */
  GPIO_InitStruct.Pin = STATUS_MCU_Pin|TH_MCU_1_Pin|TH_MCU_2_Pin|MCU_nSCS_OUT3_Pin;
  GPIO_InitStruct.Mode = GPIO_MODE_OUTPUT_PP;
  GPIO_InitStruct.Pull = GPIO_NOPULL;
  GPIO_InitStruct.Speed = GPIO_SPEED_FREQ_LOW;
  HAL_GPIO_Init(GPIOA, &GPIO_InitStruct);

  /*Configure GPIO pin : RF_WIP_Pin */
  GPIO_InitStruct.Pin = RF_WIP_Pin;
  GPIO_InitStruct.Mode = GPIO_MODE_IT_RISING;
  GPIO_InitStruct.Pull = GPIO_NOPULL;
  HAL_GPIO_Init(RF_WIP_GPIO_Port, &GPIO_InitStruct);

  /*Configure GPIO pin : MTD1_Pin */
  GPIO_InitStruct.Pin = MTD1_Pin;
  GPIO_InitStruct.Mode = GPIO_MODE_OUTPUT_PP;
  GPIO_InitStruct.Pull = GPIO_NOPULL;
  GPIO_InitStruct.Speed = GPIO_SPEED_FREQ_LOW;
  HAL_GPIO_Init(MTD1_GPIO_Port, &GPIO_InitStruct);

  /* EXTI interrupt init*/
  HAL_NVIC_SetPriority(EXTI9_5_IRQn, 5, 0);
  HAL_NVIC_EnableIRQ(EXTI9_5_IRQn);

}

/* USER CODE BEGIN 4 */
#ifdef SUPPORT_TASK_WATCHDOG
void main_kickWatchdogNFC(void)
{
	watchdog_f |= WATCHDOG_NFC;
}
#endif

#ifdef SUPPORT_PASSWORD
uint32_t pass_start_time=0;
void main_setPassCounterStart(void)
{
	pass_start_time = timer_100ms;
	if(pass_start_time == 0) pass_start_time=1;
}
#endif

/* USER CODE END 4 */

void StartDefaultTask(void const * argument)
{
  /* USER CODE BEGIN 5 */
  uint16_t led_count=0;

  osDelay(800);
  kputs(PORT_DEBUG, "start DefaultTask\r\n");
  /* Infinite loop */
  for(;;)
  {
    if(led_count != led_blink_cnt) // every 1sec
    {
    	UTIL_handleLED(); // handling 3 color LED
    	led_count = led_blink_cnt;
    }

#ifdef SUPPORT_TASK_WATCHDOG
	if(main_handler_f == 0) // only mainHandler task available
	{
		HAL_IWDG_Refresh(&hiwdg); // kick
	}
	else
	{
		if((watchdog_f&WATCHDOG_ALL) == WATCHDOG_ALL)
		{
			watchdog_f = 0;
			HAL_IWDG_Refresh(&hiwdg); // kick
		}
	}
#endif

	default_cnt++;
    osDelay(100);
  }
  /* USER CODE END 5 */
}

/* USER CODE BEGIN Header_NfcNvmTaskFunc */
/**
* @brief Function implementing the NfcNvmTask thread.
* @param argument: Not used
* @retval None
*/

void NfcNvmUpdateParam(int32_t tag_end, int32_t tag_tryed)
{
	int8_t status;

	// if tagged, wait tag_end
	//if(tag_end == 1)
	if(tag_tryed == 1 && tag_end == 1)
	{
		// if tag end, update NVM -> table
		//	check parameter table
		//	check system parameter
		osDelay(5);
#ifdef SUPPORT_PASSWORD
		if(table_isLocked()) // in case of lock, parameter should be restored
		{
			osDelay(5);
			status = HDLR_restoreNVM();
			if(status == 0) {kputs(PORT_DEBUG, "locked!! nfc tag restore error\r\n"); }

			UTIL_setLED(LED_COLOR_G, 0);
		}
		else
		{
#endif
			status = HDLR_updatebyNfc(); // EEPROM updated -> table update
			if(status == 0)
			{
				kputs(PORT_DEBUG, "nfc tag update error\r\n");
				//UTIL_setLED(LED_COLOR_B, 1);
			}
			else
				UTIL_setLED(LED_COLOR_G, 0);

		  kputs(PORT_DEBUG, "nfc tag processed!\r\n");
		}
	}
	//else if(tag_end != 0 && tag_end != 1) // NFC write is incomplete -> restore
	else if(tag_tryed == 1 || tag_end == 1) // NFC write is incomplete -> restore
	{
		// tag error : restore NVM <- table
		osDelay(5);
		status = HDLR_restoreNVM();
		if(status == 0) {kputs(PORT_DEBUG, "nfc tag restore error\r\n"); }

		kprintf(PORT_DEBUG, "nfc tag imcomplete! tryed=%d, end=%d\r\n", tag_end, tag_tryed);

		UTIL_setLED(LED_COLOR_G, 0);
	}
	else
		UTIL_setLED(LED_COLOR_G, 0);

}

/* USER CODE END Header_NfcNvmTaskFunc */
void NfcNvmTaskFunc(void const * argument)
{
  /* USER CODE BEGIN NfcNvmTaskFunc */
  int sys_index=SYSTEM_PARAM_SIZE;
  int32_t tag_end=0, tag_tryed=0;
  int8_t status;
  static uint32_t prev_time_tick;
  static uint32_t bk_cnt=0;

  // wait until mainHandler initialized
  while(main_handler_f==0) osDelay(1);

  osDelay(10);
  kputs(PORT_DEBUG, "start NfcNvmTask\r\n");
  /* Infinite loop */
  for(;;)
  {
	  osDelay(10);
#ifdef SUPPORT_TASK_WATCHDOG
	  watchdog_f |= WATCHDOG_NFC;
#endif

#ifndef SUPPORT_UNIT_TEST
	  if(NFC_Access_flag)
	  {
		  int32_t run_stop=0;

		  UTIL_setLED(LED_COLOR_B, 0);
		  osDelay(10);

		  NVM_getRunStopFlag(&run_stop); // read run_stop

		  // read NFC tag flag
		  tag_end=0, tag_tryed=0;
		  status = NVM_getNfcStatus(&tag_end, &tag_tryed);
		  if(status == 0) {kputs(PORT_DEBUG, "nfc tag error\r\n"); tag_end=0, tag_tryed=0;}

		  NVM_getNfcMonitoring(); // read monitoring flag

		  NVM_getCommandParam(); // read command
	  }
	  else
	  {
		  NfcNvmUpdateParam(tag_end, tag_tryed);
		  tag_end=0, tag_tryed=0;
	  }

	  //if(ERR_getErrorState() == TRIP_REASON_MCU_SETVALUE) continue;

	  // no tag state,
	  //	handle NVM update request
	  if(!NVMQ_isEmptyNfcQ())
	  {
		  status = HDLR_updateParamNVM();
		  if(status == 0) kputs(PORT_DEBUG, "HDLR_updateParamNVM ERROR\r\n");

		  UTIL_setLED(LED_COLOR_G, 0);
	  }

	  if(!ERR_isNvmError())
	  {
		  // update system_parameter to NVM
		  sys_index = NVM_getSysParamUpdateIndex();
		  if(sys_index != SYSTEM_PARAM_SIZE)
		  {
			  int8_t status=0;

			  status = HDLR_updateSysParam(sys_index);
			  if(status == 0) kprintf(PORT_DEBUG, "HDLR_updateSysParam index=%d ERROR\r\n", sys_index);

			  UTIL_setLED(LED_COLOR_G, 0);
			  kputs(PORT_DEBUG, "HDLR_updateSysParam called\r\n");
		  }
	  }

	  bk_cnt++;
	  if(bk_cnt%50 == 0) // every 500ms
	  {
#ifdef SUPPORT_INIT_PARAM
		  uint8_t nvm_init_type=0;

		  nvm_init_type = HDLR_isNeedInitialize();
		  if(nvm_init_type > 0) // need NVM initialize ?
		  {
			  UTIL_setLED(LED_COLOR_B, 0);
			  kprintf(PORT_DEBUG, "HDLR_initNVM type=%d\r\n", nvm_init_type);

			  status = HDLR_initNVM((NVM_INIT_t)nvm_init_type);
			  if(status == 0)
				  kputs(PORT_DEBUG, "HDLR_initNVM ERROR\r\n");
			  else
			  {
				  NVM_clearInitParamCmd();
				  param_init_requested_f = 0;
			  }

			  UTIL_setLED(LED_COLOR_G, 0);
		  }
#endif
		  // handle reset command via NFC
		  if(NVM_isResetEnabled())
		  {
			  kputs(PORT_DEBUG, "RESET !!\r\n");
			  NVM_clearResetCmd();
			  if(table_isMotorStop()) // only on motor not running
			  {
				  osDelay(100); // small delay
				  reset_enabled_f=1;
			  }
		  }
	  }

	  // time info update
	  if(prev_time_tick != device_min_cnt) // every minute
	  {
		  status = HDLR_updateTime(device_min_cnt);
		  if(status == 0) kputs(PORT_DEBUG, "HDLR_updateTime ERROR\r\n");

		  prev_time_tick = device_min_cnt;
	  }

#endif

  }
  /* USER CODE END NfcNvmTaskFunc */
}

void userIoTaskFunc(void const * argument)
{
  /* USER CODE BEGIN userIoTaskFunc */

  while(main_handler_f == 0) osDelay(5);

  osDelay(100);
  kputs(PORT_DEBUG, "start userIoTask\r\n");
  /* Infinite loop */
  for(;;)
  {

#ifdef SUPPORT_TASK_WATCHDOG
	watchdog_f |= WATCHDOG_USERIO;
#endif
    osDelay(50);
  }
  /* USER CODE END userIoTaskFunc */
}

/* USER CODE BEGIN Header_mainHandlerTaskFunc */

int8_t main_SwReset(int flag)
{
	int8_t status=1;

	reset_cmd_send_f = 1;

	if(flag==0)
		status = COMM_sendTestCmd(SPI_TEST_CMD_RESET);

	if(status)
	{
		osDelay(1000); // wait DSP reset
		HAL_NVIC_SystemReset();
	}

	return status;
}

#ifdef SUPPORT_FORCE_RESET
int8_t main_isForceReset(void)
{
	return (reset_flag == 1);
}

int8_t main_isMcuReset(void)
{
	uint16_t dummy[] = {0,0,0};
	int8_t status=1, result=0;

	status = COMM_sendMessage(SPICMD_REQ_ST, dummy);
	if(status == 1)
	{
		if(!table_isMotorStop()) // motor is running
			result = 1;
	}

	return result;
}
#endif

int8_t mainHandlerState(void)
{
	static MAIN_state_st sct_state = MAIN_IDLE_STATE; // initial state
	int8_t status;
	int32_t ctrl_in;
	static uint16_t event_cnt=0;

	switch(sct_state)
	{
	case MAIN_IDLE_STATE:
		//if(ERR_isErrorState()) sct_state = MAIN_ERROR_STATE;
		//else
		if(DSP_status_read_flag && reset_cmd_send_f==0) sct_state = MAIN_DSP_STATE;
		else if(user_io_handle_f) sct_state = MAIN_EXTIO_STATE;
		else
		{
			event_cnt++;
			if(event_cnt%2 == 0) sct_state = MAIN_MODBUS_STATE;
			else sct_state = MAIN_TABLE_STATE;
		}
		break;

	case MAIN_DSP_STATE:
#ifdef SUPPORT_INIT_PARAM
		if(HDLR_isNeedInitialize() == 0) // skip DSP status, error request during parameter initialization
#endif
		{
			// read DSP error flag and status info
			HDLR_handleDspError();
			HDLR_readDspStatus();
		}

		DSP_status_read_flag = 0; // clear flag

		sct_state = MAIN_IDLE_STATE;

		break;

	case MAIN_EXTIO_STATE:

#ifdef SUPPORT_RESTORE_EMERGENCY_STOP
		EXT_DI_handleEmergency(); // handle trip/emergency DI

		if(ERR_isErrorState()) {sct_state = MAIN_IDLE_STATE; user_io_handle_f = 0; break;}
#else
		if(ERR_isErrorState()) {sct_state = MAIN_IDLE_STATE; user_io_handle_f = 0; break;}

		EXT_DI_handleEmergency(); // handle trip/emergency DI
#endif

		ctrl_in = table_getCtrllIn();

		if(ctrl_in != CTRL_IN_NFC) // if run/stop from NFC, restore to idle
		{
			HDLR_restoreRunStopFlagNFC();
		}

		switch(ctrl_in)
		{
		case CTRL_IN_NFC:
			status = HDLR_handleRunStopFlagNFC();
			break;

		case CTRL_IN_Digital:
			status = EXT_DI_handleDin(ctrl_in);
			break;

		case CTRL_IN_Analog_V:
			status = EXT_AI_handleAin();
			break;

		case CTRL_IN_Din_Ain:
			status = EXT_handleDAin(ctrl_in);
			break;

		case CTRL_IN_Modbus: // only run/stop command
			status = HDLR_handleRunStopFlagModbus();
			break;
		}
		user_io_handle_f = 0;
		sct_state = MAIN_IDLE_STATE;

		break;

	case MAIN_MODBUS_STATE:
		MB_handlePacket();
		sct_state = MAIN_IDLE_STATE;
		break;

	case MAIN_TABLE_STATE:
		if(!NVMQ_isEmptyTableQ())
		{
		  status = table_updatebyTableQ();
		  if(status == 0) kputs(PORT_DEBUG, "table_updatebyTableQ ERROR\r\n");
		}

		if(reset_enabled_f)
		{
			status = main_SwReset(0); // SW reset
			reset_enabled_f = 0;
		}

		sct_state = MAIN_IDLE_STATE;
		break;

	case MAIN_ERROR_STATE:

		break;
	}

	return 1;
}

/**
* @brief Function implementing the mainHandlerTask thread.
* @param argument: Not used
* @retval None
*/
/* USER CODE END Header_mainHandlerTaskFunc */
void mainHandlerTaskFunc(void const * argument)
{
  /* USER CODE BEGIN mainHandlerTaskFunc */
  int8_t nv_status;
  int8_t dsp_status=0;
//	uint16_t addr=408;
//	int32_t i2c_rvalue=0;
//	uint8_t i2c_status;

  osDelay(1000); // DSP request wait 1 sec
  kputs(PORT_DEBUG, "start mainHandler task\r\n");

#ifdef SUPPORT_PRODUCTION_TEST_MODE
  jig_test_enabled_f = JIG_isTestEnabled();
  if(jig_test_enabled_f)
  {
	  while(1)
	  {
		  JIG_test_state();
		  HAL_IWDG_Refresh(&hiwdg);
		  osDelay(10);
	  }
  }
#endif

//	i2c_status = I2C_readData((uint8_t *)&i2c_rvalue, addr, 4);
//	kprintf(PORT_DEBUG, "read EEPROM addr=%d, value=%d, status=%d", addr, i2c_rvalue, i2c_status);

#ifdef SUPPORT_FORCE_RESET
  reset_flag = main_isMcuReset();
#endif

  UTIL_setLED(LED_COLOR_G, 0);

#ifndef SUPPORT_UNIT_TEST
  dsp_status = UTIL_readDTMpin(); // check DSP initialized
  //dsp_status = 0; //DTM_DSP_TRIP_ERROR;
  nv_status = table_initNVM(); // need initialize to read error for DSP wait error
  if(nv_status || dsp_status)
  {
	  table_handleInitError(nv_status, dsp_status);
  }

  kprintf(PORT_DEBUG, "nv_status=%d, dsp_error=%d, reset=%d\r\n", nv_status, dsp_status, reset_flag);
#endif

  // init queue
  MBQ_init();
  NVMQ_init();

  //init parameters setting for ctrl_in
  table_initParam();

  main_handler_f = 1;

  osTimerStart(OperationTimerHandle, OPERATION_TIME_INTERVAL); // 1 min to inverter operation time
  osTimerStart(YstcUpdateTimerHandle, DSP_STATUS_TIME_INTERVAL); // 1 sec read DSP status

  /* Infinite loop */
  for(;;)
  {

#ifdef SUPPORT_TASK_WATCHDOG
	watchdog_f |= WATCHDOG_MAIN;
#endif
	main_cnt++;
	osDelay(5);

#ifndef SUPPORT_UNIT_TEST
	mainHandlerState();
#endif

  }
  /* USER CODE END mainHandlerTaskFunc */
}

void mbus485TaskFunc(void const * argument)
{
  /* USER CODE BEGIN mbus485TaskFunc */

	while(main_handler_f == 0) osDelay(5);

	osDelay(80);

	MB_init();

	// init modbus_handler
	MB_initAddrMap();

	kputs(PORT_DEBUG, "mbus485Task started\r\n");

	/* Infinite loop */
	for(;;)
	{
#ifndef SUPPORT_UNIT_TEST
		MB_TaskFunction();
#endif

		mbus_cnt++;

#ifdef SUPPORT_TASK_WATCHDOG
		watchdog_f |= WATCHDOG_MODBUS;
#endif
		osDelay(10);
	}
  /* USER CODE END mbus485TaskFunc */
}

void opt485TaskFunc(void const * argument)
{
  /* USER CODE BEGIN opt485TaskFunc */
  while(main_handler_f == 0) osDelay(5);

  osDelay(100);

  OPT_init();

  kputs(PORT_DEBUG, "opt485Task started\r\n");
  /* Infinite loop */
  for(;;)
  {
	  OPT_TaskFunction();

	  rs485_cnt++;

#ifdef SUPPORT_TASK_WATCHDOG
	  watchdog_f |= WATCHDOG_RS485;
#endif
	  osDelay(10);
  }
  /* USER CODE END opt485TaskFunc */
}

/* YstcTriggerTimerCallback function */
void YstcTriggerTimerCallback(void const * argument)
{
  /* USER CODE BEGIN YstcTriggerTimerCallback */
  timer_100ms++;

#ifdef SUPPORT_PASSWORD
  if(pass_start_time != 0 && (timer_100ms-pass_start_time > 600)) // 60 sec timeout
  {
	  table_clearPassEnable();
	  pass_start_time=0;
  }
#endif
  /* USER CODE END YstcTriggerTimerCallback */
}

/* YstcUpdateTimerCallback function */
void YstcUpdateTimerCallback(void const * argument)
{
  /* USER CODE BEGIN YstcUpdateTimerCallback */
	DSP_status_read_flag = 1;

	HAL_GPIO_TogglePin(STATUS_MCU_GPIO_Port, STATUS_MCU_Pin); // STATUS-LED toggle
  /* USER CODE END YstcUpdateTimerCallback */
}

/* userIoTimerCallback function */
void userIoTimerCallback(void const * argument)
{
  /* USER CODE BEGIN userIoTimerCallback */
	int32_t ctrl_in;

#ifndef SUPPORT_UNIT_TEST
	// set DTM pin to check DSP error
	UTIL_readDspErrorPin();

	UTIL_readDin();

	ctrl_in = table_getCtrllIn();

	if(ctrl_in == CTRL_IN_Analog_V || ctrl_in == CTRL_IN_Din_Ain)
	{
		// read ADC
		if(ADC_ConvCpltFlag)
		{
			UTIL_getAdcSamples();

			ADC_ConvCpltFlag=0;
			UTIL_startADC();
		}
	}
	else
		; // do nothing

	if(exec_do_cnt%10 == 0) // 10ms * 10 cycle -> 100ms
	{
		EXT_DO_handleDout();
		if(exec_do_cnt >= 1000) exec_do_cnt=0;
	}
	exec_do_cnt++;

	if(user_io_handle_cnt++ > 20) // 200ms, set flag for EXT IO handler
	{
		user_io_handle_cnt=0;
		user_io_handle_f = 1;
	}
#endif
  /* USER CODE END userIoTimerCallback */
}

/* NfcAppTimerCallback function */
void NfcAppTimerCallback(void const * argument)
{
  /* USER CODE BEGIN NfcAppTimerCallback */
	NFC_Access_flag = 0; // NFC access end

  /* USER CODE END NfcAppTimerCallback */
}

/* AccReadTimerCallback function */
void AccReadTimerCallback(void const * argument)
{
  /* USER CODE BEGIN AccReadTimerCallback */

  led_blink_cnt++;
  if(led_blink_cnt > 30000) led_blink_cnt=0;

  //HAL_GPIO_TogglePin(STATUS_MCU_GPIO_Port, STATUS_MCU_Pin); // STATUS-LED toggle
  /* USER CODE END AccReadTimerCallback */
}

/* OperationTimerCallback function */
void OperationTimerCallback(void const * argument)
{
  /* USER CODE BEGIN OperationTimerCallback */
	device_min_cnt++;

  /* USER CODE END OperationTimerCallback */
}

void HAL_TIM_PeriodElapsedCallback(TIM_HandleTypeDef *htim)
{
  if (htim->Instance == TIM6) {
    HAL_IncTick();
  }
}

void Error_Handler(void)
{
  /* USER CODE BEGIN Error_Handler_Debug */
  /* User can add his own implementation to report the HAL error return state */
  while(1)
  {
	  ;
  }
  /* USER CODE END Error_Handler_Debug */
}

/************************ (C) COPYRIGHT STMicroelectronics *****END OF FILE****/
